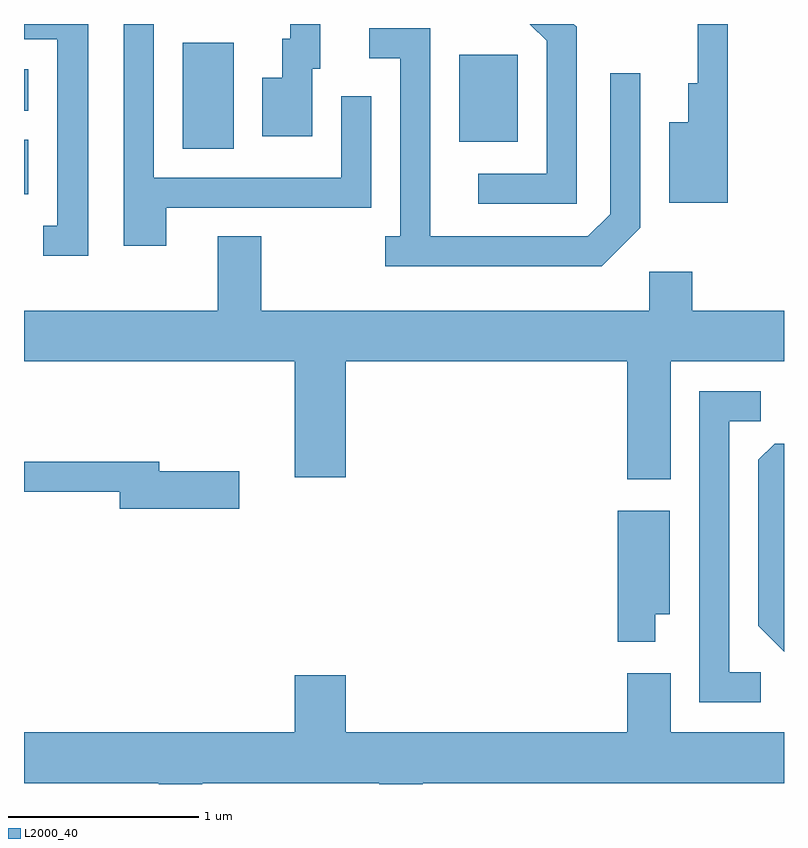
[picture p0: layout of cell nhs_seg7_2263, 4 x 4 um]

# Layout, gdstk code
import gdstk
lib = gdstk.Library(unit=1e-6, precision=1e-09)
def R(c, l, rs):  # rectangles x0, y0, x1, y1
    for r in rs: c.add(gdstk.rectangle(r[:2], r[2:], *l))
def P(c, l, *ps):  # polygons
    for p in ps: c.add(gdstk.Polygon(p, *l))
L2000_40 = (2000, 40)

nhs_seg7_2263 = lib.new_cell('nhs_seg7_2263')
R(nhs_seg7_2263, L2000_40, [(253.611,1777.356,253.634,1777.644), (254.446,1777.596,254.714,1778.154), (255.901,1777.631,256.209,1778.089), (253.611,1777.796,253.634,1778.014)])
P(nhs_seg7_2263, L2000_40, [(256.519,1778.237),(256.504,1778.252),(256.273,1778.252),(256.361,1778.164),(256.361,1777.464),(256.003,1777.464),(256.003,1777.306),(256.519,1777.306)],
  [(255.129,1778.016),(255.169,1778.016),(255.169,1778.252),(255.011,1778.252),(255.011,1778.174),(254.971,1778.174),(254.971,1777.969),(254.866,1777.969),(254.866,1777.661),(255.129,1777.661)],
  [(254.359,1777.286),(255.439,1777.286),(255.439,1777.873),(255.281,1777.873),(255.281,1777.444),(254.294,1777.444),(254.294,1778.252),(254.136,1778.252),(254.136,1777.086),(254.359,1777.086)],
  [(257.314,1778.252),(257.156,1778.252),(257.156,1777.939),(257.106,1777.939),(257.106,1777.734),(257.006,1777.734),(257.006,1777.311),(257.314,1777.311)],
  [(253.949,1778.252),(253.611,1778.252),(253.611,1778.171),(253.786,1778.171),(253.786,1777.189),(253.713,1777.189),(253.713,1777.031),(253.949,1777.031)],
  [(256.854,1777.179),(256.854,1777.993),(256.696,1777.993),(256.696,1777.252),(256.579,1777.134),(255.749,1777.134),(255.749,1778.229),(255.428,1778.229),(255.428,1778.071),(255.591,1778.071),(255.591,1777.134),(255.513,1777.134),(255.513,1776.976),(256.652,1776.976)],
  [(257.014,1776.476),(257.611,1776.476),(257.611,1776.744),(257.129,1776.744),(257.129,1776.949),(256.901,1776.949),(256.901,1776.744),(254.859,1776.744),(254.859,1777.134),(254.631,1777.134),(254.631,1776.744),(253.611,1776.744),(253.611,1776.476),(255.036,1776.476),(255.036,1775.866),(255.304,1775.866),(255.304,1776.476),(256.786,1776.476),(256.786,1775.856),(257.014,1775.856)],
  [(257.488,1774.839),(257.324,1774.839),(257.324,1776.161),(257.488,1776.161),(257.488,1776.319),(257.166,1776.319),(257.166,1774.681),(257.488,1774.681)],
  [(257.611,1776.044),(257.562,1776.044),(257.476,1775.959),(257.476,1775.084),(257.611,1774.949)],
  [(254.744,1775.899),(254.324,1775.899),(254.324,1775.949),(253.611,1775.949),(253.611,1775.791),(254.116,1775.791),(254.116,1775.701),(254.744,1775.701)],
  [(256.934,1775.146),(257.009,1775.146),(257.009,1775.689),(256.736,1775.689),(256.736,1775.001),(256.934,1775.001)],
  [(254.549,1774.256),(255.481,1774.256),(255.481,1774.252),(255.709,1774.252),(255.709,1774.256),(257.611,1774.256),(257.611,1774.524),(257.014,1774.524),(257.014,1774.834),(256.786,1774.834),(256.786,1774.524),(255.304,1774.524),(255.304,1774.824),(255.036,1774.824),(255.036,1774.524),(253.611,1774.524),(253.611,1774.256),(254.321,1774.256),(254.321,1774.252),(254.549,1774.252)])

lib.write_gds('nhs_seg7_2263.gds')
